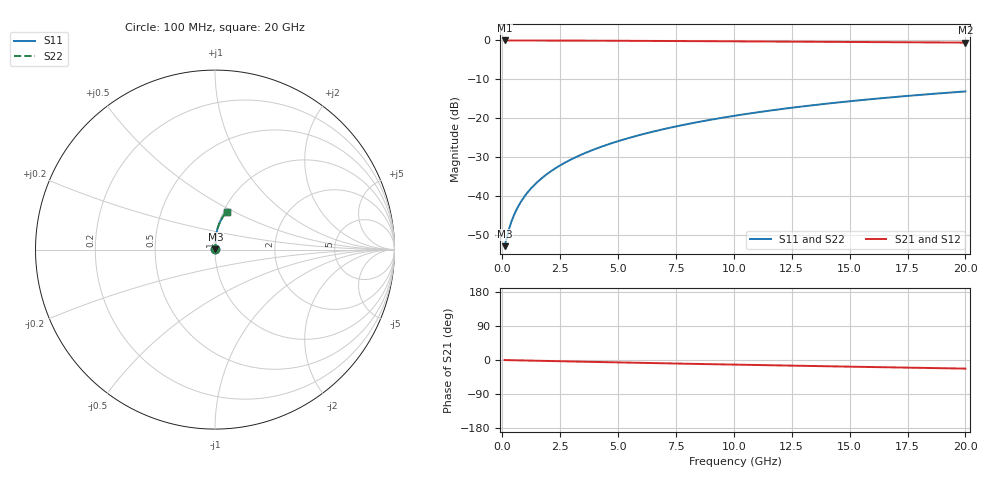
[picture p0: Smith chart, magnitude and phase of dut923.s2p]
! Touchstone file exported from HFSS 2024.1.0
!  File:  C:/UserFiles/LocalFiles/RDL_TSV_Batchsim/temp_RDL_bottom_923_1779940994.aedt
!  Generated:  12:05:59 PM May 28, 2026
!  Design:  RDL_bottom
!  Project:  temp_RDL_bottom_923_1779940994
!  Setup:  Setup1
!  Solution:  Sweep
! Variables:
!  dtsv = 10.80580581um
!  hbump = 3um
!  htsv = 90.84um
!  ldown = 314.56um
!  lrdl = 100um
!  p = 40
!  p1 = 42.22um
!  rhole = 1um
!  t = 450um
!  tdown = 3.02um
!  trdl = 3.915915916um
!  wdown = 21.19um
!  wrdl = 20um
# GHz S MA R 50.000000
! Terminal data exported
! Port[1] = RDL1_T1
! Port[2] = RDL1_T2
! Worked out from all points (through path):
!   200 points, 100 MHz to 20 GHz, reference 50 ohm
!   highest |S21| = -0.02 dB at 100 MHz (marker M1); lowest = -0.6 dB at 20 GHz (marker M2)
!   group delay of S21, straight-line fit = 3.13 ps
!   lowest |S11| = -52.9 dB at 100 MHz (marker M3), VSWR 1.00, Z = 50.2 + j0.111 ohm
!   |S11| at or under -10 dB: start of sweep to end of sweep
!   |S22| runs from -52.9 to -13.1 dB; largest |S21 - S12| = 2.1e-15
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0.1  0.002275 29.0  0.998 -0.1  0.998 -0.1  0.002275 29.0
! Gamma 0 0 0 0
! Port Impedance 50 0 50 0
0.3  0.003859 56.2  0.9978 -0.4  0.9978 -0.4  0.003859 56.2
0.4  0.004756 62.0  0.9977 -0.5  0.9977 -0.5  0.004756 62.0
0.5  0.005662 66.1  0.9976 -0.7  0.9976 -0.7  0.005662 66.1
0.6  0.006573 69.1  0.9975 -0.8  0.9975 -0.8  0.006573 69.1
0.8  0.008411 73.3  0.9973 -1.1  0.9973 -1.1  0.008411 73.3
1  0.01027 76.2  0.9971 -1.3  0.9971 -1.3  0.01027 76.2
1.2  0.01216 78.3  0.9969 -1.6  0.9969 -1.6  0.01216 78.3
1.4  0.01407 79.8  0.9967 -1.8  0.9967 -1.8  0.01407 79.8
1.7  0.01696 81.6  0.9964 -2.2  0.9964 -2.2  0.01696 81.6
2.2  0.02185 83.5  0.9957 -2.9  0.9957 -2.9  0.02185 83.5
2.8  0.02784 84.9  0.9946 -3.6  0.9946 -3.6  0.02784 84.9
3.5  0.03496 85.9  0.9931 -4.5  0.9931 -4.5  0.03496 85.9
4.2  0.04225 86.4  0.9914 -5.4  0.9914 -5.4  0.04225 86.4
5  0.05076 86.6  0.9892 -6.4  0.9892 -6.4  0.05076 86.6
5.9  0.06056 86.6  0.9865 -7.5  0.9865 -7.5  0.06056 86.6
6.8  0.07057 86.3  0.9836 -8.5  0.9836 -8.5  0.07057 86.3
8.4  0.08877 85.4  0.9782 -10.4  0.9782 -10.4  0.08877 85.4
10.1  0.1085 83.9  0.9722 -12.3  0.9722 -12.3  0.1085 83.9
13.4  0.1469 80.5  0.9606 -15.9  0.9606 -15.9  0.1469 80.5
16.7  0.1846 76.8  0.9489 -19.3  0.9489 -19.3  0.1846 76.8
20  0.2211 73.1  0.9371 -22.7  0.9371 -22.7  0.2211 73.1
